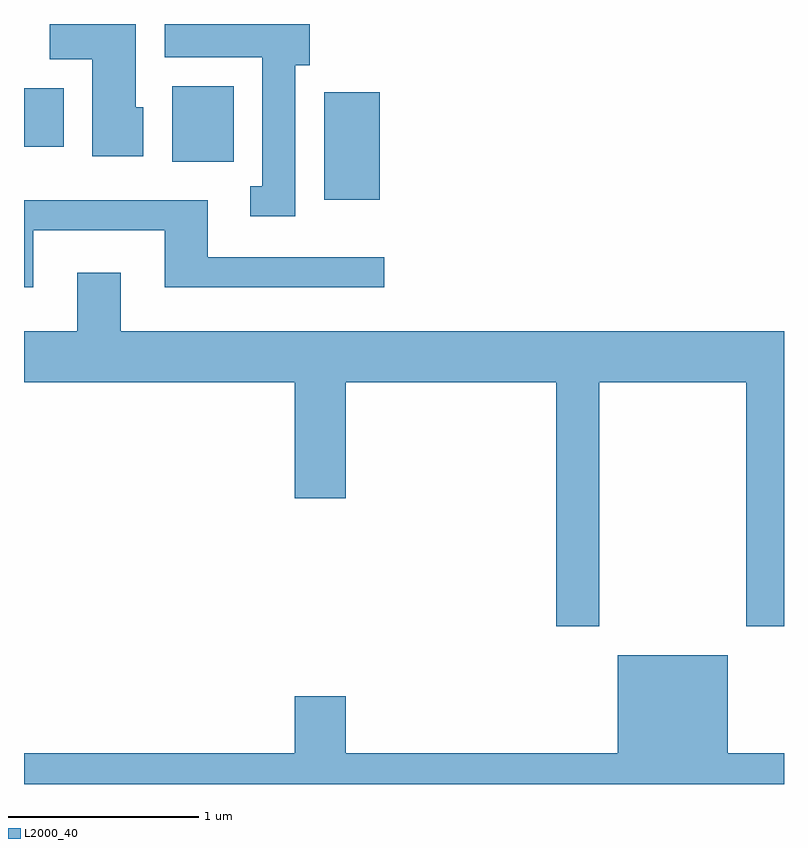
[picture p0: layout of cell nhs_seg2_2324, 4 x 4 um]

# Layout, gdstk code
import gdstk
lib = gdstk.Library(unit=1e-6, precision=1e-09)
def R(c, l, rs):  # rectangles x0, y0, x1, y1
    for r in rs: c.add(gdstk.rectangle(r[:2], r[2:], *l))
def P(c, l, *ps):  # polygons
    for p in ps: c.add(gdstk.Polygon(p, *l))
L2000_40 = (2000, 40)

nhs_seg2_2324 = lib.new_cell('nhs_seg2_2324')
R(nhs_seg2_2324, L2000_40, [(255.191,1004.876,255.484,1005.444), (254.391,1005.076,254.714,1005.474), (253.611,1005.156,253.819,1005.464)])
P(nhs_seg2_2324, L2000_40, [(255.039,1005.586),(255.114,1005.586),(255.114,1005.802),(254.351,1005.802),(254.351,1005.626),(254.866,1005.626),(254.866,1004.949),(254.803,1004.949),(254.803,1004.791),(255.039,1004.791)],
  [(254.239,1005.364),(254.199,1005.364),(254.199,1005.802),(253.746,1005.802),(253.746,1005.616),(253.971,1005.616),(253.971,1005.106),(254.239,1005.106)],
  [(253.659,1004.716),(254.351,1004.716),(254.351,1004.416),(255.508,1004.416),(255.508,1004.574),(254.579,1004.574),(254.579,1004.874),(253.611,1004.874),(253.611,1004.416),(253.659,1004.416)],
  [(256.639,1003.916),(257.411,1003.916),(257.411,1002.631),(257.611,1002.631),(257.611,1004.184),(254.119,1004.184),(254.119,1004.494),(253.891,1004.494),(253.891,1004.184),(253.611,1004.184),(253.611,1003.916),(255.036,1003.916),(255.036,1003.306),(255.304,1003.306),(255.304,1003.916),(256.411,1003.916),(256.411,1002.631),(256.639,1002.631)],
  [(257.611,1001.964),(257.314,1001.964),(257.314,1002.479),(256.736,1002.479),(256.736,1001.964),(255.304,1001.964),(255.304,1002.264),(255.036,1002.264),(255.036,1001.964),(253.611,1001.964),(253.611,1001.802),(257.611,1001.802)])

lib.write_gds('nhs_seg2_2324.gds')
